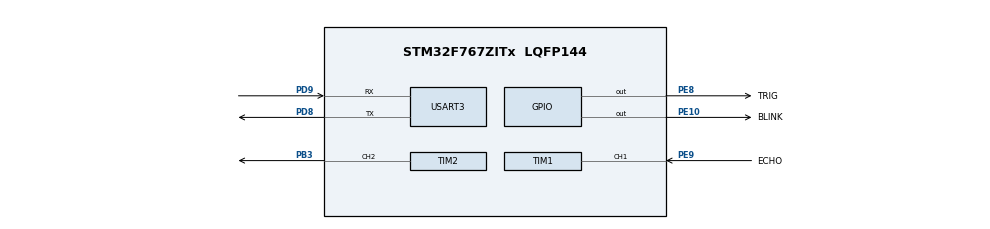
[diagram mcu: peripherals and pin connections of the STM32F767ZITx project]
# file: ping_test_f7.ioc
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Dma.Request0=USART3_RX
Dma.Request1=USART3_TX
Dma.USART3_RX.0.Direction=DMA_PERIPH_TO_MEMORY
Dma.USART3_RX.0.FIFOMode=DMA_FIFOMODE_DISABLE
Dma.USART3_RX.0.Instance=DMA1_Stream1
Dma.USART3_RX.0.MemDataAlignment=DMA_MDATAALIGN_BYTE
Dma.USART3_RX.0.MemInc=DMA_MINC_ENABLE
Dma.USART3_RX.0.Mode=DMA_CIRCULAR
Dma.USART3_RX.0.PeriphDataAlignment=DMA_PDATAALIGN_BYTE
Dma.USART3_RX.0.PeriphInc=DMA_PINC_DISABLE
Dma.USART3_RX.0.Priority=DMA_PRIORITY_VERY_HIGH
Dma.USART3_TX.1.Direction=DMA_MEMORY_TO_PERIPH
Dma.USART3_TX.1.FIFOMode=DMA_FIFOMODE_DISABLE
Dma.USART3_TX.1.Instance=DMA1_Stream3
Dma.USART3_TX.1.MemDataAlignment=DMA_MDATAALIGN_BYTE
Dma.USART3_TX.1.MemInc=DMA_MINC_ENABLE
Dma.USART3_TX.1.Mode=DMA_NORMAL
Dma.USART3_TX.1.PeriphDataAlignment=DMA_PDATAALIGN_BYTE
Dma.USART3_TX.1.PeriphInc=DMA_PINC_DISABLE
Dma.USART3_TX.1.Priority=DMA_PRIORITY_VERY_HIGH
FREERTOS.Tasks01=defaultTask,24,800,StartDefaultTask,Default,NULL,Dynamic,NULL,NULL;lowTask,16,128,StartLowTask,Default,NULL,Dynamic,NULL,NULL;idleTask,8,128,StartIdleTask,Default,NULL,Dynamic,NULL,NULL
FREERTOS.configUSE_NEWLIB_REENTRANT=1
Mcu.Family=STM32F7
Mcu.Name=STM32F767ZITx
Mcu.Package=LQFP144
NVIC.DMA1_Stream1_IRQn=true\:5\:0\:false\:false\:true\:true\:false\:true
NVIC.DMA1_Stream3_IRQn=true\:5\:0\:false\:false\:true\:true\:false\:true
NVIC.PriorityGroup=NVIC_PRIORITYGROUP_4
NVIC.TIM1_CC_IRQn=true\:5\:0\:false\:false\:true\:true\:true\:true
NVIC.TIM7_IRQn=true\:15\:0\:false\:false\:true\:false\:false\:true
NVIC.TimeBase=TIM7_IRQn
NVIC.TimeBaseIP=TIM7
NVIC.USART3_IRQn=true\:5\:0\:false\:false\:true\:true\:true\:true
PB3.Signal=S_TIM2_CH2
PD8.Mode=Asynchronous
PD8.Signal=USART3_TX
PD9.Mode=Asynchronous
PD9.Signal=USART3_RX
PE10.GPIO_Label=BLINK
PE10.Signal=GPIO_Output
PE8.GPIO_Label=TRIG
PE8.Signal=GPIO_Output
PE9.GPIO_Label=ECHO
PE9.Signal=S_TIM1_CH1
ProjectManager.HeapSize=0x200
ProjectManager.StackSize=0x400
ProjectManager.TargetToolchain=STM32CubeIDE
RCC.HSE_VALUE=25000000
RCC.HSI_VALUE=16000000
RCC.LSE_VALUE=32768
RCC.USBFreq_Value=96000000
RCC.VCOOutputFreq_Value=192000000
SH.S_TIM1_CH1.0=TIM1_CH1,Input_Capture1_from_TI1
SH.S_TIM2_CH2.0=TIM2_CH2,PWM Generation2 CH2
TIM1.Channel-Input_Capture1_from_TI1=TIM_CHANNEL_1
TIM1.Period=0xffff
TIM1.Prescaler=72
TIM2.Channel-PWM\ Generation2\ CH2=TIM_CHANNEL_2
TIM2.Period=60000
TIM2.Prescaler=23
TIM2.Pulse-PWM\ Generation2\ CH2=2000
USART3.VirtualMode-Asynchronous=VM_ASYNC
VP_FREERTOS_VS_CMSIS_V2.Mode=CMSIS_V2
VP_SYS_VS_tim7.Mode=TIM7
board=custom

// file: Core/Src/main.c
/* USER CODE BEGIN Header */
/**
 ******************************************************************************
 * @file           : main.c
 * @brief          : Main program body
 ******************************************************************************
 * @attention
 *
 * <h2><center>&copy; Copyright (c) 2022 STMicroelectronics.
 * All rights reserved.</center></h2>
 *
 * This software component is licensed by ST under BSD 3-Clause license,
 * the "License"; You may not use this file except in compliance with the
 * License. You may obtain a copy of the License at:
 *                        opensource.org/licenses/BSD-3-Clause
 *
 ******************************************************************************
 */
/* USER CODE END Header */
#include "main.h"

#include "cmsis_os.h"

/* USER CODE BEGIN Includes */
#include <math.h>
#include <rcl/error_handling.h>
#include <rcl/rcl.h>
#include <rclc/executor.h>
#include <rclc/rclc.h>
#include <rmw_microros/rmw_microros.h>
#include <rmw_microxrcedds_c/config.h>
#include <std_msgs/msg/header.h>
#include <stdbool.h>
#include <stdio.h>
#include <string.h>
#include <time.h>
#include <unistd.h>
#include <uxr/client/transport.h>

#include "FreeRTOS.h"
#include "task.h"
/* USER CODE END Includes */

/* USER CODE BEGIN PD */
#define STRING_BUFFER_LEN 50
#define DUTY_MAX 60000
#define FREQ_MS 80

#define RCCHECK(fn)                                                                      \
    {                                                                                    \
        rcl_ret_t temp_rc = fn;                                                          \
        if ((temp_rc != RCL_RET_OK)) {                                                   \
            printf("Failed status on line %d: %d. Aborting.\n", __LINE__, (int)temp_rc); \
            vTaskDelete(NULL);                                                           \
        }                                                                                \
    }
#define RCSOFTCHECK(fn)                                                                    \
    {                                                                                      \
        rcl_ret_t temp_rc = fn;                                                            \
        if ((temp_rc != RCL_RET_OK)) {                                                     \
            printf("Failed status on line %d: %d. Continuing.\n", __LINE__, (int)temp_rc); \
        }                                                                                  \
    }
/* USER CODE END PD */

TIM_HandleTypeDef htim1;
TIM_HandleTypeDef htim2;

UART_HandleTypeDef huart3;
DMA_HandleTypeDef hdma_usart3_rx;
DMA_HandleTypeDef hdma_usart3_tx;

/* Definitions for defaultTask */
osThreadId_t defaultTaskHandle;
const osThreadAttr_t defaultTask_attributes = {
    .name = "defaultTask",
    .stack_size = 800 * 4,
    .priority = (osPriority_t)osPriorityNormal,
};
/* Definitions for lowTask */
osThreadId_t lowTaskHandle;
const osThreadAttr_t lowTask_attributes = {
    .name = "lowTask",
    .stack_size = 128 * 4,
    .priority = (osPriority_t)osPriorityBelowNormal,
};
/* Definitions for idleTask */
osThreadId_t idleTaskHandle;
const osThreadAttr_t idleTask_attributes = {
    .name = "idleTask",
    .stack_size = 128 * 4,
    .priority = (osPriority_t)osPriorityLow,
};

void SystemClock_Config(void);
static void MX_GPIO_Init(void);
static void MX_DMA_Init(void);
static void MX_USART3_UART_Init(void);
static void MX_TIM1_Init(void);
static void MX_TIM2_Init(void);
void StartDefaultTask(void *argument);
void StartLowTask(void *argument);
void StartIdleTask(void *argument);

/* USER CODE BEGIN 0 */
/*
int _write(int file, char *data, int len) {
    if ((file != 1) && (file != 2)) {  // STDOUT_FILENO, STDERR_FILENO
        return -1;
    }

    // arbitrary timeout 1000
    HAL_StatusTypeDef status = HAL_UART_Transmit(&huart3, (uint8_t *)data, len, 1000);

    // return # of bytes written - as best we can tell
    return (status == HAL_OK ? len : 0);
}
*/
/* USER CODE END 0 */

int main(void) {

    /* MCU Configuration--------------------------------------------------------*/

    /* Reset of all peripherals, Initializes the Flash interface and the Systick. */
    HAL_Init();

    /* Configure the system clock */
    SystemClock_Config();

    /* USER CODE BEGIN SysInit */
#ifdef CONFIG_PERCEPIO_TRACERECORDER_ENABLED
    // vTraceEnable(TRC_START);
    vTraceEnable(TRC_INIT);
#endif
    /* USER CODE END SysInit */

    /* Initialize all configured peripherals */
    MX_GPIO_Init();
    MX_DMA_Init();
    MX_USART3_UART_Init();
    MX_TIM1_Init();
    MX_TIM2_Init();

    /* Init scheduler */
    osKernelInitialize();

    /* Create the thread(s) */
    /* creation of defaultTask */
    defaultTaskHandle = osThreadNew(StartDefaultTask, NULL, &defaultTask_attributes);

    /* creation of lowTask */
    lowTaskHandle = osThreadNew(StartLowTask, NULL, &lowTask_attributes);

    /* creation of idleTask */
    idleTaskHandle = osThreadNew(StartIdleTask, NULL, &idleTask_attributes);

    /* Start scheduler */
    osKernelStart();

    /* We should never get here as control is now taken by the scheduler */
    /* Infinite loop */
    while (1) {

    }
}

void SystemClock_Config(void) {
    RCC_OscInitTypeDef RCC_OscInitStruct = {0};
    RCC_ClkInitTypeDef RCC_ClkInitStruct = {0};

    /** Configure the main internal regulator output voltage
     */
    __HAL_RCC_PWR_CLK_ENABLE();
    __HAL_PWR_VOLTAGESCALING_CONFIG(PWR_REGULATOR_VOLTAGE_SCALE3);
    /** Initializes the RCC Oscillators according to the specified parameters
     * in the RCC_OscInitTypeDef structure.
     */
    RCC_OscInitStruct.OscillatorType = RCC_OSCILLATORTYPE_HSI;
    RCC_OscInitStruct.HSIState = RCC_HSI_ON;
    RCC_OscInitStruct.HSICalibrationValue = RCC_HSICALIBRATION_DEFAULT;
    RCC_OscInitStruct.PLL.PLLState = RCC_PLL_NONE;
    if (HAL_RCC_OscConfig(&RCC_OscInitStruct) != HAL_OK) {
        Error_Handler();
    }
    /** Initializes the CPU, AHB and APB buses clocks
     */
    RCC_ClkInitStruct.ClockType = RCC_CLOCKTYPE_HCLK | RCC_CLOCKTYPE_SYSCLK | RCC_CLOCKTYPE_PCLK1 | RCC_CLOCKTYPE_PCLK2;
    RCC_ClkInitStruct.SYSCLKSource = RCC_SYSCLKSOURCE_HSI;
    RCC_ClkInitStruct.AHBCLKDivider = RCC_SYSCLK_DIV1;
    RCC_ClkInitStruct.APB1CLKDivider = RCC_HCLK_DIV1;
    RCC_ClkInitStruct.APB2CLKDivider = RCC_HCLK_DIV1;

    if (HAL_RCC_ClockConfig(&RCC_ClkInitStruct, FLASH_LATENCY_0) != HAL_OK) {
        Error_Handler();
    }
}

static void MX_TIM1_Init(void) {

    TIM_MasterConfigTypeDef sMasterConfig = {0};
    TIM_IC_InitTypeDef sConfigIC = {0};

    htim1.Instance = TIM1;
    htim1.Init.Prescaler = 72;
    htim1.Init.CounterMode = TIM_COUNTERMODE_UP;
    htim1.Init.Period = 0xffff;
    htim1.Init.ClockDivision = TIM_CLOCKDIVISION_DIV1;
    htim1.Init.RepetitionCounter = 0;
    htim1.Init.AutoReloadPreload = TIM_AUTORELOAD_PRELOAD_DISABLE;
    if (HAL_TIM_IC_Init(&htim1) != HAL_OK) {
        Error_Handler();
    }
    sMasterConfig.MasterOutputTrigger = TIM_TRGO_RESET;
    sMasterConfig.MasterOutputTrigger2 = TIM_TRGO2_RESET;
    sMasterConfig.MasterSlaveMode = TIM_MASTERSLAVEMODE_DISABLE;
    if (HAL_TIMEx_MasterConfigSynchronization(&htim1, &sMasterConfig) != HAL_OK) {
        Error_Handler();
    }
    sConfigIC.ICPolarity = TIM_INPUTCHANNELPOLARITY_RISING;
    sConfigIC.ICSelection = TIM_ICSELECTION_DIRECTTI;
    sConfigIC.ICPrescaler = TIM_ICPSC_DIV1;
    sConfigIC.ICFilter = 0;
    if (HAL_TIM_IC_ConfigChannel(&htim1, &sConfigIC, TIM_CHANNEL_1) != HAL_OK) {
        Error_Handler();
    }
}

static void MX_TIM2_Init(void) {

    TIM_MasterConfigTypeDef sMasterConfig = {0};
    TIM_OC_InitTypeDef sConfigOC = {0};

    htim2.Instance = TIM2;
    htim2.Init.Prescaler = 23;
    htim2.Init.CounterMode = TIM_COUNTERMODE_UP;
    htim2.Init.Period = 60000;
    htim2.Init.ClockDivision = TIM_CLOCKDIVISION_DIV1;
    htim2.Init.AutoReloadPreload = TIM_AUTORELOAD_PRELOAD_DISABLE;
    if (HAL_TIM_PWM_Init(&htim2) != HAL_OK) {
        Error_Handler();
    }
    sMasterConfig.MasterOutputTrigger = TIM_TRGO_RESET;
    sMasterConfig.MasterSlaveMode = TIM_MASTERSLAVEMODE_DISABLE;
    if (HAL_TIMEx_MasterConfigSynchronization(&htim2, &sMasterConfig) != HAL_OK) {
        Error_Handler();
    }
    sConfigOC.OCMode = TIM_OCMODE_PWM1;
    sConfigOC.Pulse = 2000;
    sConfigOC.OCPolarity = TIM_OCPOLARITY_HIGH;
    sConfigOC.OCFastMode = TIM_OCFAST_DISABLE;
    if (HAL_TIM_PWM_ConfigChannel(&htim2, &sConfigOC, TIM_CHANNEL_2) != HAL_OK) {
        Error_Handler();
    }
    HAL_TIM_MspPostInit(&htim2);
}

static void MX_USART3_UART_Init(void) {

    huart3.Instance = USART3;
    huart3.Init.BaudRate = 115200;
    huart3.Init.WordLength = UART_WORDLENGTH_8B;
    huart3.Init.StopBits = UART_STOPBITS_1;
    huart3.Init.Parity = UART_PARITY_NONE;
    huart3.Init.Mode = UART_MODE_TX_RX;
    huart3.Init.HwFlowCtl = UART_HWCONTROL_NONE;
    huart3.Init.OverSampling = UART_OVERSAMPLING_16;
    huart3.Init.OneBitSampling = UART_ONE_BIT_SAMPLE_DISABLE;
    huart3.AdvancedInit.AdvFeatureInit = UART_ADVFEATURE_NO_INIT;
    if (HAL_UART_Init(&huart3) != HAL_OK) {
        Error_Handler();
    }
}

static void MX_DMA_Init(void) {
    /* DMA controller clock enable */
    __HAL_RCC_DMA1_CLK_ENABLE();

    /* DMA interrupt init */
    /* DMA1_Stream1_IRQn interrupt configuration */
    HAL_NVIC_SetPriority(DMA1_Stream1_IRQn, 5, 0);
    HAL_NVIC_EnableIRQ(DMA1_Stream1_IRQn);
    /* DMA1_Stream3_IRQn interrupt configuration */
    HAL_NVIC_SetPriority(DMA1_Stream3_IRQn, 5, 0);
    HAL_NVIC_EnableIRQ(DMA1_Stream3_IRQn);
}

static void MX_GPIO_Init(void) {
    GPIO_InitTypeDef GPIO_InitStruct = {0};

    /* GPIO Ports Clock Enable */
    __HAL_RCC_GPIOE_CLK_ENABLE();
    __HAL_RCC_GPIOD_CLK_ENABLE();
    __HAL_RCC_GPIOB_CLK_ENABLE();

    /*Configure GPIO pin Output Level */
    HAL_GPIO_WritePin(GPIOE, TRIG_Pin | BLINK_Pin, GPIO_PIN_RESET);

    /*Configure GPIO pins : TRIG_Pin BLINK_Pin */
    GPIO_InitStruct.Pin = TRIG_Pin | BLINK_Pin;
    GPIO_InitStruct.Mode = GPIO_MODE_OUTPUT_PP;
    GPIO_InitStruct.Pull = GPIO_NOPULL;
    GPIO_InitStruct.Speed = GPIO_SPEED_FREQ_LOW;
    HAL_GPIO_Init(GPIOE, &GPIO_InitStruct);
}

/* USER CODE BEGIN 4 */
uint32_t IC_Val1 = 0;
uint32_t IC_Val2 = 0;
uint32_t Difference = 0;
uint8_t Is_First_Captured = 0;  // is the first value captured ?
double Distance = 0;

void HAL_TIM_IC_CaptureCallback(TIM_HandleTypeDef *htim) {
    if (htim->Channel == HAL_TIM_ACTIVE_CHANNEL_1)  // if the interrupt source is channel1
    {
        if (Is_First_Captured == 0)  // if the first value is not captured
        {
            IC_Val1 = HAL_TIM_ReadCapturedValue(htim, TIM_CHANNEL_1);  // read the first value
            Is_First_Captured = 1;                                     // set the first captured as true
            // Now change the polarity to falling edge
            __HAL_TIM_SET_CAPTUREPOLARITY(htim, TIM_CHANNEL_1, TIM_INPUTCHANNELPOLARITY_FALLING);
        }

        else if (Is_First_Captured == 1)  // if the first is already captured
        {
            IC_Val2 = HAL_TIM_ReadCapturedValue(htim, TIM_CHANNEL_1);  // read second value
            __HAL_TIM_SET_COUNTER(htim, 0);                            // reset the counter

            if (IC_Val2 > IC_Val1) {
                Difference = IC_Val2 - IC_Val1;
            }

            else if (IC_Val1 > IC_Val2) {
                Difference = (0xffff - IC_Val1) + IC_Val2;
            }

            Distance = Difference * .0343 / 2;
            Is_First_Captured = 0;  // set it back to false

            // set polarity to rising edge
            __HAL_TIM_SET_CAPTUREPOLARITY(htim, TIM_CHANNEL_1, TIM_INPUTCHANNELPOLARITY_RISING);
            __HAL_TIM_DISABLE_IT(&htim1, TIM_IT_CC1);
        }
    }
}

enum { NS_PER_SECOND = 1000000000 };

double sub_timespec(struct timespec t1, struct timespec t2) {
    double nsec = t1.tv_nsec - t2.tv_nsec;
    double sec = t1.tv_sec - t2.tv_sec;
    if (sec > 0 && nsec < 0) {
        nsec += NS_PER_SECOND;
        sec--;
    } else if (sec < 0 && nsec > 0) {
        nsec -= NS_PER_SECOND;
        sec++;
    }
    return sec + nsec;
}

rclc_support_t support;
rcl_allocator_t allocator;
rcl_node_t node;

rcl_publisher_t ping_pub;
rcl_subscription_t pong_sub;
rcl_publisher_t peng_pub;

std_msgs__msg__Header msg_header;

int state;
#ifdef CONFIG_PERCEPIO_TRACERECORDER_ENABLED
traceString chnState;
#endif

struct timespec ts;

void ping_timer_callback(rcl_timer_t *timer, int64_t last_call_time) {
    RCLC_UNUSED(last_call_time);
    if (state >= 1) {
        struct timespec currT;
        clock_gettime(CLOCK_REALTIME, &currT);
        if ((currT.tv_sec - ts.tv_sec) > 1) {
            state = 0;
            // printf("State reset\r\n");
        }
    }
    if (timer != NULL && state < 1) {
        HAL_GPIO_WritePin(TRIG_GPIO_Port, TRIG_Pin, GPIO_PIN_SET);  // pull the TRIG pin HIGH
        osDelay(10);
        HAL_GPIO_WritePin(TRIG_GPIO_Port, TRIG_Pin, GPIO_PIN_RESET);  // pull the TRIG pin low

        __HAL_TIM_ENABLE_IT(&htim1, TIM_IT_CC1);

        sprintf(msg_header.frame_id.data, "%f", Distance);
        msg_header.frame_id.size = strlen(msg_header.frame_id.data);

        // Fill the message timestamp
        clock_gettime(CLOCK_REALTIME, &ts);
        msg_header.stamp.sec = ts.tv_sec;
        msg_header.stamp.nanosec = ts.tv_nsec;

        printf("Ping data: %s\r\n", msg_header.frame_id.data);
        state = 1;
#ifdef CONFIG_PERCEPIO_TRACERECORDER_ENABLED
        vTracePrintF(chnState, "%d", state);
#endif
        // HAL_GPIO_WritePin(BLINK_GPIO_Port, BLINK_Pin, state);
        __HAL_TIM_SET_COMPARE(&htim2, TIM_CHANNEL_2, state * DUTY_MAX);
        RCCHECK(rcl_publish(&ping_pub, (const void *)&msg_header, NULL));
    }
}

void pong_sub_callback(const void *msgin) {
    struct timespec currT;
    clock_gettime(CLOCK_REALTIME, &currT);

    const std_msgs__msg__Header *msg = (const std_msgs__msg__Header *)msgin;
    if (msg_header.stamp.sec == msg->stamp.sec && msg_header.stamp.nanosec == msg->stamp.nanosec) {
        state = 0;
#ifdef CONFIG_PERCEPIO_TRACERECORDER_ENABLED
        vTracePrintF(chnState, "%d", state);
#endif
        // HAL_GPIO_WritePin(BLINK_GPIO_Port, BLINK_Pin, state);
        __HAL_TIM_SET_COMPARE(&htim2, TIM_CHANNEL_2, state * DUTY_MAX);

        double RTT = sub_timespec(currT, ts);
        // printf("Pong data: %s, RTT: %fs\r\n", msg->frame_id.data, RTT);

        RCSOFTCHECK(rcl_publish(&peng_pub, (const void *)&msg_header, NULL));
    } else {
        state = 0.5;
#ifdef CONFIG_PERCEPIO_TRACERECORDER_ENABLED
        vTracePrintF(chnState, "%d", state);
#endif
        // HAL_GPIO_WritePin(BLINK_GPIO_Port, BLINK_Pin, 0);
        __HAL_TIM_SET_COMPARE(&htim2, TIM_CHANNEL_2, state * DUTY_MAX);
    }
}
/* USER CODE END 4 */

/* USER CODE BEGIN Header_StartDefaultTask */
bool cubemx_transport_open(struct uxrCustomTransport *transport);
bool cubemx_transport_close(struct uxrCustomTransport *transport);
size_t cubemx_transport_write(struct uxrCustomTransport *transport, const uint8_t *buf, size_t len, uint8_t *err);
size_t cubemx_transport_read(struct uxrCustomTransport *transport, uint8_t *buf, size_t len, int timeout, uint8_t *err);

void *microros_allocate(size_t size, void *state);
void microros_deallocate(void *pointer, void *state);
void *microros_reallocate(void *pointer, size_t size, void *state);
void *microros_zero_allocate(size_t number_of_elements, size_t size_of_element, void *state);
/**
 * @brief  Function implementing the defaultTask thread.
 * @param  argument: Not used
 * @retval None
 */
/* USER CODE END Header_StartDefaultTask */
void StartDefaultTask(void *argument) {
    /* USER CODE BEGIN 5 */
    clock_gettime(CLOCK_REALTIME, &ts);

    HAL_TIM_IC_Start_IT(&htim1, TIM_CHANNEL_1);
    HAL_TIM_PWM_Start(&htim2, TIM_CHANNEL_2);

#ifdef CONFIG_PERCEPIO_TRACERECORDER_ENABLED
    chnState = xTraceRegisterString("state");
#endif

    // micro-ROS configuration

    rmw_uros_set_custom_transport(true, (void *)&huart3, cubemx_transport_open, cubemx_transport_close,
                                  cubemx_transport_write, cubemx_transport_read);

    rcl_allocator_t freeRTOS_allocator = rcutils_get_zero_initialized_allocator();
    freeRTOS_allocator.allocate = microros_allocate;
    freeRTOS_allocator.deallocate = microros_deallocate;
    freeRTOS_allocator.reallocate = microros_reallocate;
    freeRTOS_allocator.zero_allocate = microros_zero_allocate;

    if (!rcutils_set_default_allocator(&freeRTOS_allocator)) {
        // printf("Error on default allocators (line %d)\n", __LINE__);
    }

    // micro-ROS app
    while (RMW_RET_OK != rmw_uros_ping_agent(1000, 1))
        ;

    allocator = rcl_get_default_allocator();

    // create init_options
    rcl_init_options_t init_options = rcl_get_zero_initialized_init_options();
    RCCHECK(rcl_init_options_init(&init_options, allocator));
    size_t domain_id = (size_t)50;
    rcl_init_options_set_domain_id(&init_options, domain_id);
    RCCHECK(rclc_support_init_with_options(&support, 0, NULL, &init_options, &allocator));
    // RCCHECK(rclc_support_init(&support, 0, NULL, &allocator));

    rclc_node_init_default(&node, "ping_f7_node", "", &support);

    const rosidl_message_type_support_t *type_support = ROSIDL_GET_MSG_TYPE_SUPPORT(std_msgs, msg, Header);
    RCCHECK(rclc_publisher_init_best_effort(&ping_pub, &node, type_support, "/mros/ping"));
    RCCHECK(rclc_subscription_init_best_effort(&pong_sub, &node, type_support, "/ros2/pong"));
    RCCHECK(rclc_publisher_init_best_effort(&peng_pub, &node, type_support, "/mros/peng"));

    // Create a 3 seconds ping timer,
    rcl_timer_t timer;
    RCCHECK(rclc_timer_init_default(&timer, &support, RCL_MS_TO_NS(FREQ_MS), ping_timer_callback));

    // Create executor
    rclc_executor_t executor;
    RCCHECK(rclc_executor_init(&executor, &support.context, 2, &allocator));
    RCCHECK(rclc_executor_add_timer(&executor, &timer));
    RCCHECK(rclc_executor_add_subscription(&executor, &pong_sub, &msg_header, &pong_sub_callback, ON_NEW_DATA));

    // Create and allocate the pingpong messages
    msg_header.frame_id.data = (char *)malloc(sizeof(char) * STRING_BUFFER_LEN);
    msg_header.frame_id.size = 0;
    msg_header.frame_id.capacity = STRING_BUFFER_LEN;

    /* Infinite loop */
    for (;;) {
        rclc_executor_spin_some(&executor, RCL_MS_TO_NS(FREQ_MS / 2));
        osDelay(FREQ_MS / 2);
    }

    // free resources
    RCCHECK(rcl_publisher_fini(&ping_pub, &node));
    RCCHECK(rcl_subscription_fini(&pong_sub, &node));
    RCCHECK(rcl_publisher_fini(&peng_pub, &node));
    RCCHECK(rcl_node_fini(&node));

    vTaskDelete(NULL);
    /* USER CODE END 5 */
}

void StartLowTask(void *argument) {
    /* USER CODE BEGIN StartLowTask */
    // traceString chnLow = xTraceRegisterString("Low");;
    // bool lowOn = false;
    /* Infinite loop */
    for (;;) {
        // lowOn = true;
        // vTracePrintF(chnLow, "%d", lowOn);
        for (int i = 0; i < 3000; i++)
            ;
        // lowOn = false;
        // vTracePrintF(chnLow, "%d", lowOn);
        osDelay(777);
    }
    /* USER CODE END StartLowTask */
}

void StartIdleTask(void *argument) {
    /* USER CODE BEGIN StartIdleTask */
    // traceString chnIdle = xTraceRegisterString("Idle");;
    // bool idleOn = false;
    /* Infinite loop */
    for (;;) {
        // idleOn = true;
        // vTracePrintF(chnIdle, "%d", idleOn);
        // idleOn = false;
        // vTracePrintF(chnIdle, "%d", idleOn);
        osDelay(1234);
    }
    /* USER CODE END StartIdleTask */
}

void HAL_TIM_PeriodElapsedCallback(TIM_HandleTypeDef *htim) {
    if (htim->Instance == TIM7) {
        HAL_IncTick();
    }
}

void Error_Handler(void) {
    __disable_irq();
    while (1) {
    }
}
